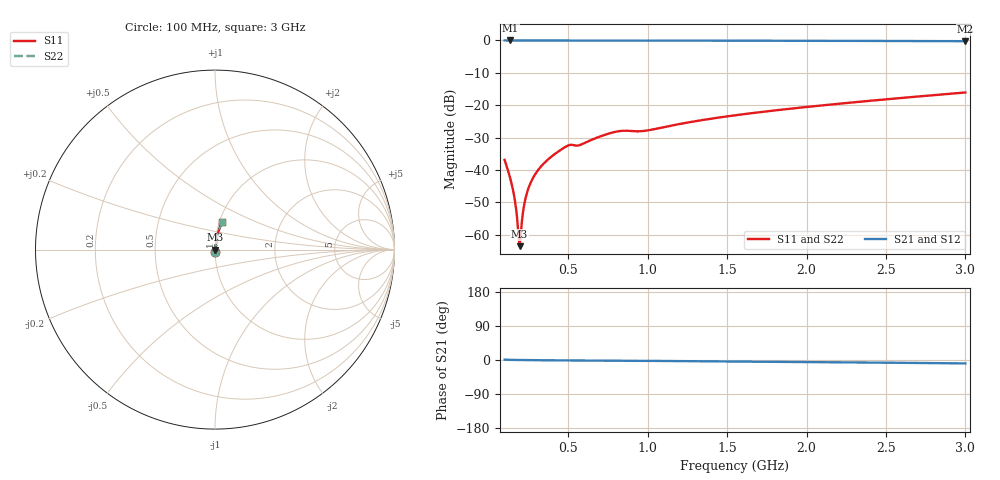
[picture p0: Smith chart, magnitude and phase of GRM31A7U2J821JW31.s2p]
!Murata Part Number: GRM31A7U2J821JW31
!These Parameters are Measured in Series Mode Connection
!Data Generated on Mar 30, 2021
!  o--ll--o
!Port1  Port2
!  o------o
!Operation Temp=25[degC], DC Bias Voltage=0[V]
!Freq. Start=100[MHz] Stop=3[GHz] 401[Steps]
# Hz S RI R 50
!Freq.(Hz) S11(Real) S11(Imag) S21(Real) S21(Imag) S12(Real) S12(Imag) S22(Real) S22(Imag)
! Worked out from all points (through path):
!   401 points, 100 MHz to 3 GHz, reference 50 ohm
!   highest |S21| = -0.01 dB at 136.2 MHz (marker M1); lowest = -0.2 dB at 3 GHz (marker M2)
!   group delay of S21, straight-line fit = 8.43 ps
!   lowest |S11| = -63.5 dB at 194.2 MHz (marker M3), VSWR 1.00, Z = 50.1 - j0.000511 ohm
!   |S11| at or under -10 dB: start of sweep to end of sweep
!   |S22| runs from -63.5 to -16.1 dB; largest |S21 - S12| = 0
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1e8  0.000739 -0.0143  0.9993 0.0143  0.9993 0.0143  0.000739 -0.0143
1.145e8  0.000672 -0.0111  0.9993 0.0111  0.9993 0.0111  0.000672 -0.0111
1.3625e8  0.000627 -0.00725  0.9994 0.00725  0.9994 0.00725  0.000627 -0.00725
1.58e8  0.000621 -0.00417  0.9994 0.00417  0.9994 0.00417  0.000621 -0.00417
1.7975e8  0.000641 -0.00156  0.9994 0.00156  0.9994 0.00156  0.000641 -0.00156
1.87e8  0.000652 -0.000769  0.9993 0.000769  0.9993 0.000769  0.000652 -0.000769
1.9425e8  0.000665 -5.1e-06  0.9993 5.1e-06  0.9993 5.1e-06  0.000665 -5.1e-06
2.015e8  0.000679 0.000731  0.9993 -0.000731  0.9993 -0.000731  0.000679 0.000731
2.0875e8  0.000695 0.00144  0.9993 -0.00144  0.9993 -0.00144  0.000695 0.00144
2.2325e8  0.000732 0.0028  0.9993 -0.0028  0.9993 -0.0028  0.000732 0.0028
2.45e8  0.000798 0.00472  0.9992 -0.00472  0.9992 -0.00472  0.000798 0.00472
2.6675e8  0.000878 0.00651  0.9991 -0.00651  0.9991 -0.00651  0.000878 0.00651
3.03e8  0.00104 0.00933  0.999 -0.00933  0.999 -0.00933  0.00104 0.00933
3.755e8  0.00152 0.0146  0.9985 -0.0146  0.9985 -0.0146  0.00152 0.0146
4.77e8  0.0035 0.022  0.9965 -0.022  0.9965 -0.022  0.0035 0.022
5.8575e8  0.00474 0.0244  0.9953 -0.0244  0.9953 -0.0244  0.00474 0.0244
7.96e8  0.0091 0.0376  0.9909 -0.0376  0.9909 -0.0376  0.0091 0.0376
1.0715e9  0.00845 0.0433  0.9915 -0.0433  0.9915 -0.0433  0.00845 0.0433
1.55e9  0.011 0.0689  0.989 -0.0689  0.989 -0.0689  0.011 0.0689
2.03575e9  0.0174 0.0942  0.9826 -0.0942  0.9826 -0.0942  0.0174 0.0942
2.5215e9  0.0264 0.1217  0.9736 -0.1217  0.9736 -0.1217  0.0264 0.1217
3e9  0.0389 0.1524  0.9611 -0.1524  0.9611 -0.1524  0.0389 0.1524
